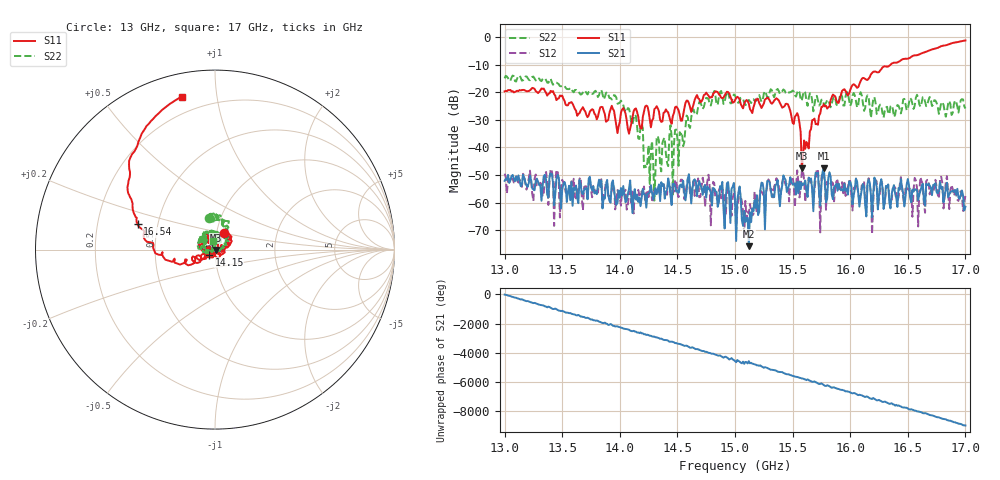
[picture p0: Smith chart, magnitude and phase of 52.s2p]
!Keysight Technologies,P9374A,MY57211807,A.19.30.04
!Date: Friday, May 01, 2026 14:15:34
!Correction: S11(C  2-Port  )
!S21(C  2-Port  )
!S12(C  2-Port  )
!S22(C  2-Port  )
!S2P File: Measurements: S11, S21, S12, S22:
# Hz S  RI  R 50
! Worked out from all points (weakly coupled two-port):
!   401 points, 13 GHz to 17 GHz, reference 50 ohm
!   highest |S21| = -47.61 dB at 15.77 GHz (marker M1); lowest = -75.8 dB at 15.12 GHz (marker M2)
!   lowest |S11| = -47.6 dB at 15.58 GHz (marker M3), VSWR 1.01, Z = 50.3 - j0.266 ohm
!   |S11| at or under -10 dB: start of sweep to 16.35 GHz
!   |S22| runs from -59.3 to -13.9 dB; largest |S21 - S12| = 0.0021
!   S11 on the Smith chart (normalised r, x): 13 GHz: 1.09, +0.20; 14.15 GHz: 0.93, -0.05; 16.54 GHz: 0.38, +0.14; 17 GHz: 0.11, +0.80
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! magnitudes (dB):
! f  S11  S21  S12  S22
! 13 GHz  -19.6  -52.1  -49.5  -14.9
! 13.67 GHz  -26.0  -56.6  -58.3  -20.6
! 13.95 GHz  -26.8  -55.7  -53.6  -21.0
! 14.08 GHz  -35.0  -55.1  -57.0  -26.0
! 14.15 GHz  -27.1  -57.3  -59.0  -32.3
! 14.24 GHz  -25.1  -56.9  -56.2  -45.5
! 14.34 GHz  -27.0  -53.4  -55.4  -37.8
! 14.53 GHz  -30.3  -53.5  -51.7  -35.2
! 14.75 GHz  -20.1  -58.2  -56.8  -22.0
! 15 GHz  -22.9  -58.4  -58.6  -21.1
! 15.12 GHz  -24.1  -75.8  -64.0  -22.8
! 15.23 GHz  -25.7  -52.8  -56.1  -23.4
! 15.45 GHz  -24.2  -56.2  -53.3  -20.6
! 15.54 GHz  -27.6  -52.4  -48.3  -20.1
! 15.58 GHz  -47.6  -52.9  -48.7  -23.1
! 15.6 GHz  -37.5  -53.2  -51.9  -19.6
! 15.67 GHz  -30.1  -55.3  -54.3  -23.0
! 15.77 GHz  -24.4  -47.6  -49.1  -24.1
! 16.34 GHz  -10.4  -60.0  -58.6  -27.8
! 16.54 GHz  -6.9  -55.3  -65.2  -24.2
! 16.68 GHz  -4.9  -53.2  -51.9  -22.8
! 17 GHz  -1.2  -61.5  -57.6  -25.9
